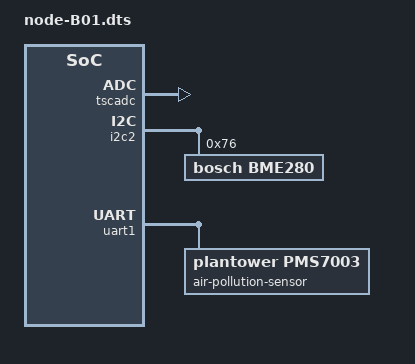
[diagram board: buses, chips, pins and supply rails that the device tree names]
/******************************************************************
* Author        : German Mundinger
* Date          : 2022
******************************************************************/

/dts-v1/;
/plugin/;

#include <dt-bindings/gpio/gpio.h>
#include <dt-bindings/pinctrl/am33xx.h>

#include "node-common.dtsi"


&{/chosen} {
    overlays {
        NODE_B01 = __TIMESTAMP__;
    };
};


// Door PIR
&am33xx_pinmux {
    door_pir_pin: pinmux_door_pir_pin {
        pinctrl-single,pins = <
            AM33XX_PADCONF(AM335X_PIN_GPMC_AD11, PIN_INPUT, MUX_MODE7)      // GPIO_27 (0[27])
        >;
    };
};

&ocp {
    door_pir_pinmux {
        compatible = "bone-pinmux-helper";
        pinctrl-0 = <&door_pir_pin>;
        pinctrl-names = "default";
        status = "okay";
    };
};


// Room PIR
&am33xx_pinmux {
    room_pir_pin: pinmux_room_pir_pin {
        pinctrl-single,pins = <
            AM33XX_PADCONF(AM335X_PIN_GPMC_AD15, PIN_INPUT, MUX_MODE7)      // GPIO_47 (1[15])
        >;
    };
};

&ocp {
    room_pir_pinmux {
        compatible = "bone-pinmux-helper";
        pinctrl-0 = <&room_pir_pin>;
        pinctrl-names = "default";
        status = "okay";
    };
};


// Light power
&am33xx_pinmux {
    light_power_pin: pinmux_light_power_pin {
        pinctrl-single,pins = <
            AM33XX_PADCONF(AM335X_PIN_ECAP0_IN_PWM0_OUT, PIN_OUTPUT, MUX_MODE7) // GPIO_7 (0[7])
        >;
    };
};

&ocp {
    light_power_pinmux {
        compatible = "bone-pinmux-helper";
        pinctrl-0 = <&light_power_pin>;
        pinctrl-names = "default";
        status = "okay";
    };
};


// USB power
&am33xx_pinmux {
    power_usb_pins: pinmux_power_usb_pins {
        pinctrl-single,pins = <
            AM33XX_PADCONF(AM335X_PIN_GPMC_AD13, PIN_OUTPUT, MUX_MODE7)     // GPIO_45 (1[13]) - HDMI display
            AM33XX_PADCONF(AM335X_PIN_GPMC_AD9, PIN_OUTPUT, MUX_MODE7)      // GPIO_23 (0[23]) - unused
        >;
    };
};

&ocp {
    power_usb_pinmux {
        compatible = "bone-pinmux-helper";
        pinctrl-0 = <&power_usb_pins>;
        pinctrl-names = "default";
        status = "okay";
    };
};


// Gas sensor
&tscadc {
    status = "okay";
    adc {
        ti,adc-channels = <3 5>;            // 3 - gas | 5 - photoresistor
        ti,chan-step-avg = <16 16>;
        ti,chan-step-opendelay = <152 152>;
        ti,chan-step-sampledelay = <0 0>;
    };
};

&am33xx_pinmux {
    power_gas_pins: pinmux_power_gas_pins {
        pinctrl-single,pins = <
            AM33XX_PADCONF(AM335X_PIN_GPMC_AD14, PIN_OUTPUT, MUX_MODE7)     // GPIO_46 (1[14])
        >;
    };
};

&ocp {
    power_gas_pinmux {
        compatible = "bone-pinmux-helper";
        pinctrl-0 = <&power_gas_pins>;
        pinctrl-names = "default";
        status = "okay";
    };
};


// Humidity sensor
&i2c2 {
    bme280@76 {
        status = "okay";
        compatible = "bosch,bme280";
        reg = <0x76>;
    };
};

&am33xx_pinmux {
    power_humidity_pins: pinmux_power_humidity_pins {
        pinctrl-single,pins = <
            AM33XX_PADCONF(AM335X_PIN_GPMC_CLK, PIN_OUTPUT_PULLUP, MUX_MODE7)      // GPIO_65 (2[1])
        >;
    };
};

&ocp {
    power_humidity_pinmux {
        compatible = "bone-pinmux-helper";
        pinctrl-0 = <&power_humidity_pins>;
        pinctrl-names = "default";
        status = "okay";
    };
};


// Particle sensor
&am33xx_pinmux {
    uart1_pins: pinmux_uart1_pins {
        pinctrl-single,pins = <
            AM33XX_PADCONF(AM335X_PIN_UART1_RXD, PIN_INPUT_PULLUP, MUX_MODE0)
            AM33XX_PADCONF(AM335X_PIN_UART1_TXD, PIN_OUTPUT_PULLDOWN, MUX_MODE0)
        >;
    };
};

&uart1 {
    pinctrl-names = "default";
    pinctrl-0 = <&uart1_pins>;

    status = "okay";
    symlink = "bone/uart/1";

    air-pollution-sensor {
        compatible = "plantower,pms7003";
    };
};

&am33xx_pinmux {
    power_particle_pins: pinmux_power_particle_pins {
        pinctrl-single,pins = <
            AM33XX_PADCONF(AM335X_PIN_GPMC_CSN0, PIN_OUTPUT, MUX_MODE7)     // GPIO_61 (1[29])
        >;
    };
};

&ocp {
    power_particle_pinmux {
        compatible = "bone-pinmux-helper";
        pinctrl-0 = <&power_particle_pins>;
        pinctrl-names = "default";
        status = "okay";
    };
};
